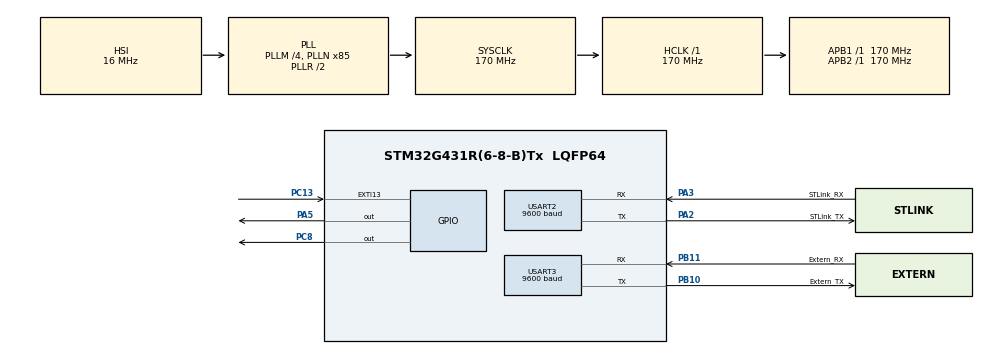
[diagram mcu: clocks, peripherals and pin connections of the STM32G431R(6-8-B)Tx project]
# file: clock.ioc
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Mcu.Family=STM32G4
Mcu.Name=STM32G431R(6-8-B)Tx
Mcu.Package=LQFP64
NUCLEO-G431RB.BUTTON=1
NUCLEO-G431RB.LD1=true
NVIC.EXTI15_10_IRQn=true\:0\:0\:false\:false\:true\:false\:true\:true
NVIC.PriorityGroup=NVIC_PRIORITYGROUP_4
NVIC.TIM2_IRQn=true\:0\:0\:false\:false\:true\:true\:true\:true
NVIC.USART2_IRQn=true\:0\:0\:false\:false\:true\:true\:true\:true
NVIC.USART3_IRQn=true\:0\:0\:false\:false\:true\:true\:true\:true
PA13.GPIO_Label=T_SWDIO
PA13.Signal=SYS_JTMS-SWDIO
PA14.GPIO_Label=T_SWCLK
PA14.Signal=SYS_JTCK-SWCLK
PA2.GPIO_Label=STLink_TX
PA2.Mode=Asynchronous
PA2.Signal=USART2_TX
PA3.GPIO_Label=STLink_RX
PA3.Mode=Asynchronous
PA3.Signal=USART2_RX
PA5.Signal=GPIO_Output
PB10.GPIO_Label=Extern_TX
PB10.Mode=Asynchronous
PB10.Signal=USART3_TX
PB11.GPIO_Label=Extern_RX
PB11.Mode=Asynchronous
PB11.Signal=USART3_RX
PB3.GPIO_Label=T_SWO
PB3.Signal=SYS_JTDO-SWO
PC13.Signal=GPXTI13
PC14-OSC32_IN.GPIO_Label=RCC_OSC32_OUT
PC14-OSC32_IN.Signal=RCC_OSC32_IN
PC15-OSC32_OUT.GPIO_Label=RCC_OSC32_OUT
PC15-OSC32_OUT.Signal=RCC_OSC32_OUT
PC8.Signal=GPIO_Output
PF0-OSC_IN.GPIO_Label=RCC_OSC_IN
PF0-OSC_IN.Signal=RCC_OSC_IN
PF1-OSC_OUT.GPIO_Label=RCC_OSC_OUT
PF1-OSC_OUT.Signal=RCC_OSC_OUT
ProjectManager.HeapSize=0x200
ProjectManager.StackSize=0x400
ProjectManager.TargetToolchain=STM32CubeIDE
RCC.ADC12Freq_Value=170000000
RCC.AHBFreq_Value=170000000
RCC.APB1Freq_Value=170000000
RCC.APB1TimFreq_Value=170000000
RCC.APB2Freq_Value=170000000
RCC.APB2TimFreq_Value=170000000
RCC.CortexFreq_Value=170000000
RCC.EXTERNAL_CLOCK_VALUE=12288000
RCC.HCLKFreq_Value=170000000
RCC.HSE_VALUE=24000000
RCC.HSI48_VALUE=48000000
RCC.HSI_VALUE=16000000
RCC.LSE_VALUE=32768
RCC.PLLM=RCC_PLLM_DIV4
RCC.PLLN=85
RCC.RTCClockSelection=RCC_RTCCLKSOURCE_LSE
RCC.SYSCLKFreq_VALUE=170000000
RCC.SYSCLKSource=RCC_SYSCLKSOURCE_PLLCLK
RCC.USBFreq_Value=170000000
RCC.VCOOutputFreq_Value=340000000
TIM2.PeriodNoDither=62499
TIM2.Prescaler=2719
USART2.BaudRate=9600
USART2.VirtualMode-Asynchronous=VM_ASYNC
USART3.BaudRate=9600
USART3.VirtualMode-Asynchronous=VM_ASYNC
VP_NUCLEO-G431RB_VS_BSP_COMMON.Mode=COMMON
VP_SYS_VS_DBSignals.Mode=DisableDeadBatterySignals
VP_TIM2_VS_ClockSourceINT.Mode=Internal
board=NUCLEO-G431RB

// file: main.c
/* USER CODE BEGIN Header */
/**
 ******************************************************************************
 * @file           : main.c
 * @brief          : Main program body
 ******************************************************************************
 * @attention
 *
 * Copyright (c) 2024 STMicroelectronics.
 * All rights reserved.
 *
 * This software is licensed under terms that can be found in the LICENSE file
 * in the root directory of this software component.
 * If no LICENSE file comes with this software, it is provided AS-IS.
 *
 ******************************************************************************
 */
/* USER CODE END Header */
#include "main.h"

/* USER CODE BEGIN Includes */
#include <stdlib.h>
#include <string.h>
/* USER CODE END Includes */

/* USER CODE BEGIN PD */
#define RX_LEN 8
#define BUFF_LEN 50
#define TRANSMIT_TIMEOUT 10
#define msgSize 9

/* USER CODE END PD */

/* USER CODE BEGIN PM */
void Clear_Putty(void);
void Clear_Cube(void);
void Clear_Terminal(void);
void UpdateTime(void);
void UpdateClock(void);
void PrintClock(void);
void PrintTimer(void);
void Echo(void);
/* USER CODE END PM */

TIM_HandleTypeDef htim2;

UART_HandleTypeDef huart2;
UART_HandleTypeDef huart3;

/* USER CODE BEGIN PV */
unsigned char rxBUFF[BUFF_LEN] = {' '};
int Transmit = 0;
int Time_Update = 0;
int CLKUpdate = 0;
//STLink on UART2, FTDI on UART3
// UART_HandleTypeDef *ftdiUART = &huart2;
// UART_HandleTypeDef *stmUART = &huart3;
UART_HandleTypeDef *ftdiUART = &huart3;
UART_HandleTypeDef *stmUART = &huart2;
UART_HandleTypeDef *txUART = &huart2;
UART_HandleTypeDef *rxUART = &huart2;
uint8_t hours = 0;
uint8_t minutes = 0;
uint8_t seconds = 0;
/* USER CODE END PV */

void SystemClock_Config(void);
static void MX_GPIO_Init(void);
static void MX_USART2_UART_Init(void);
static void MX_USART3_UART_Init(void);
static void MX_TIM2_Init(void);

int main(void)
{

  /* MCU Configuration--------------------------------------------------------*/

  /* Reset of all peripherals, Initializes the Flash interface and the Systick. */
    HAL_Init();

  /* Configure the system clock */
    SystemClock_Config();

  /* USER CODE BEGIN SysInit */
    Clear_Putty();
  /* USER CODE END SysInit */

  /* Initialize all configured peripherals */
    MX_GPIO_Init();
    MX_USART2_UART_Init();
    MX_USART3_UART_Init();
    MX_TIM2_Init();
  /* USER CODE BEGIN 2 */
    HAL_GPIO_WritePin(GPIOC, GPIO_PIN_8, 0);
  /* USER CODE END 2 */

  /* Initialize leds */
    BSP_LED_Init(LED_GREEN);

  /* Initialize USER push-button, will be used to trigger an interrupt each time it's pressed.*/
    BSP_PB_Init(BUTTON_USER, BUTTON_MODE_EXTI);

  /* Infinite loop */
  /* USER CODE BEGIN WHILE */
    // HAL_UART_Transmit(stmUART, (uint8_t *)"STLink\n\r", 8, TRANSMIT_TIMEOUT);
    // HAL_UART_Transmit(ftdiUART, (uint8_t *)"\nFTDI\n\r", 7, TRANSMIT_TIMEOUT);
    // HAL_UART_Receive_IT(ftdiUART, rxBUFF, RX_LEN);
    HAL_UART_Receive_IT(rxUART, rxBUFF, RX_LEN);
    HAL_TIM_Base_Start_IT(&htim2);

    while (1){
        if(CLKUpdate == 1){
            UpdateClock();
            PrintClock();
        }
        if(Time_Update == 1){
            Time_Update = 0;
            UpdateTime();
        }
        if(Transmit == 1){
            Transmit = 0;
        }
    /* USER CODE END WHILE */

    }
}

void SystemClock_Config(void)
{
  RCC_OscInitTypeDef RCC_OscInitStruct = {0};
  RCC_ClkInitTypeDef RCC_ClkInitStruct = {0};

  /** Configure the main internal regulator output voltage
  */
  HAL_PWREx_ControlVoltageScaling(PWR_REGULATOR_VOLTAGE_SCALE1_BOOST);

  /** Initializes the RCC Oscillators according to the specified parameters
  * in the RCC_OscInitTypeDef structure.
  */
  RCC_OscInitStruct.OscillatorType = RCC_OSCILLATORTYPE_HSI;
  RCC_OscInitStruct.HSIState = RCC_HSI_ON;
  RCC_OscInitStruct.HSICalibrationValue = RCC_HSICALIBRATION_DEFAULT;
  RCC_OscInitStruct.PLL.PLLState = RCC_PLL_ON;
  RCC_OscInitStruct.PLL.PLLSource = RCC_PLLSOURCE_HSI;
  RCC_OscInitStruct.PLL.PLLM = RCC_PLLM_DIV4;
  RCC_OscInitStruct.PLL.PLLN = 85;
  RCC_OscInitStruct.PLL.PLLP = RCC_PLLP_DIV2;
  RCC_OscInitStruct.PLL.PLLQ = RCC_PLLQ_DIV2;
  RCC_OscInitStruct.PLL.PLLR = RCC_PLLR_DIV2;
  if (HAL_RCC_OscConfig(&RCC_OscInitStruct) != HAL_OK)
  {
    Error_Handler();
  }

  /** Initializes the CPU, AHB and APB buses clocks
  */
  RCC_ClkInitStruct.ClockType = RCC_CLOCKTYPE_HCLK|RCC_CLOCKTYPE_SYSCLK
                              |RCC_CLOCKTYPE_PCLK1|RCC_CLOCKTYPE_PCLK2;
  RCC_ClkInitStruct.SYSCLKSource = RCC_SYSCLKSOURCE_PLLCLK;
  RCC_ClkInitStruct.AHBCLKDivider = RCC_SYSCLK_DIV1;
  RCC_ClkInitStruct.APB1CLKDivider = RCC_HCLK_DIV1;
  RCC_ClkInitStruct.APB2CLKDivider = RCC_HCLK_DIV1;

  if (HAL_RCC_ClockConfig(&RCC_ClkInitStruct, FLASH_LATENCY_4) != HAL_OK)
  {
    Error_Handler();
  }
}

static void MX_TIM2_Init(void)
{

  TIM_ClockConfigTypeDef sClockSourceConfig = {0};
  TIM_MasterConfigTypeDef sMasterConfig = {0};

  htim2.Instance = TIM2;
  htim2.Init.Prescaler = 2719;
//   htim2.Init.Period = 62499;
//   htim2.Init.Prescaler = 219;
  htim2.Init.Period = 63050;
  htim2.Init.CounterMode = TIM_COUNTERMODE_UP;
  htim2.Init.ClockDivision = TIM_CLOCKDIVISION_DIV1;
  htim2.Init.AutoReloadPreload = TIM_AUTORELOAD_PRELOAD_DISABLE;
  if (HAL_TIM_Base_Init(&htim2) != HAL_OK)
  {
    Error_Handler();
  }
  sClockSourceConfig.ClockSource = TIM_CLOCKSOURCE_INTERNAL;
  if (HAL_TIM_ConfigClockSource(&htim2, &sClockSourceConfig) != HAL_OK)
  {
    Error_Handler();
  }
  sMasterConfig.MasterOutputTrigger = TIM_TRGO_RESET;
  sMasterConfig.MasterSlaveMode = TIM_MASTERSLAVEMODE_DISABLE;
  if (HAL_TIMEx_MasterConfigSynchronization(&htim2, &sMasterConfig) != HAL_OK)
  {
    Error_Handler();
  }

}

static void MX_USART2_UART_Init(void)
{

  huart2.Instance = USART2;
  huart2.Init.BaudRate = 9600;
  huart2.Init.WordLength = UART_WORDLENGTH_8B;
  huart2.Init.StopBits = UART_STOPBITS_1;
  huart2.Init.Parity = UART_PARITY_NONE;
  huart2.Init.Mode = UART_MODE_TX_RX;
  huart2.Init.HwFlowCtl = UART_HWCONTROL_NONE;
  huart2.Init.OverSampling = UART_OVERSAMPLING_16;
  huart2.Init.OneBitSampling = UART_ONE_BIT_SAMPLE_DISABLE;
  huart2.Init.ClockPrescaler = UART_PRESCALER_DIV1;
  huart2.AdvancedInit.AdvFeatureInit = UART_ADVFEATURE_NO_INIT;
  if (HAL_UART_Init(&huart2) != HAL_OK)
  {
    Error_Handler();
  }
  if (HAL_UARTEx_SetTxFifoThreshold(&huart2, UART_TXFIFO_THRESHOLD_1_8) != HAL_OK)
  {
    Error_Handler();
  }
  if (HAL_UARTEx_SetRxFifoThreshold(&huart2, UART_RXFIFO_THRESHOLD_1_8) != HAL_OK)
  {
    Error_Handler();
  }
  if (HAL_UARTEx_DisableFifoMode(&huart2) != HAL_OK)
  {
    Error_Handler();
  }

}

static void MX_USART3_UART_Init(void)
{

  huart3.Instance = USART3;
  huart3.Init.BaudRate = 9600;
  huart3.Init.WordLength = UART_WORDLENGTH_8B;
  huart3.Init.StopBits = UART_STOPBITS_1;
  huart3.Init.Parity = UART_PARITY_NONE;
  huart3.Init.Mode = UART_MODE_TX_RX;
  huart3.Init.HwFlowCtl = UART_HWCONTROL_NONE;
  huart3.Init.OverSampling = UART_OVERSAMPLING_16;
  huart3.Init.OneBitSampling = UART_ONE_BIT_SAMPLE_DISABLE;
  huart3.Init.ClockPrescaler = UART_PRESCALER_DIV1;
  huart3.AdvancedInit.AdvFeatureInit = UART_ADVFEATURE_NO_INIT;
  if (HAL_UART_Init(&huart3) != HAL_OK)
  {
    Error_Handler();
  }
  if (HAL_UARTEx_SetTxFifoThreshold(&huart3, UART_TXFIFO_THRESHOLD_1_8) != HAL_OK)
  {
    Error_Handler();
  }
  if (HAL_UARTEx_SetRxFifoThreshold(&huart3, UART_RXFIFO_THRESHOLD_1_8) != HAL_OK)
  {
    Error_Handler();
  }
  if (HAL_UARTEx_DisableFifoMode(&huart3) != HAL_OK)
  {
    Error_Handler();
  }

}

static void MX_GPIO_Init(void)
{
  GPIO_InitTypeDef GPIO_InitStruct = {0};

  /* GPIO Ports Clock Enable */
  __HAL_RCC_GPIOC_CLK_ENABLE();
  __HAL_RCC_GPIOF_CLK_ENABLE();
  __HAL_RCC_GPIOA_CLK_ENABLE();
  __HAL_RCC_GPIOB_CLK_ENABLE();

  /*Configure GPIO pin Output Level */
  HAL_GPIO_WritePin(GPIOC, GPIO_PIN_8, GPIO_PIN_RESET);

  /*Configure GPIO pin : PC8 */
  GPIO_InitStruct.Pin = GPIO_PIN_8;
  GPIO_InitStruct.Mode = GPIO_MODE_OUTPUT_PP;
  GPIO_InitStruct.Pull = GPIO_NOPULL;
  GPIO_InitStruct.Speed = GPIO_SPEED_FREQ_LOW;
  HAL_GPIO_Init(GPIOC, &GPIO_InitStruct);

}

/* USER CODE BEGIN 4 */
void HAL_UART_RxCpltCallback(UART_HandleTypeDef *huart){
    if(strcmp((char *)rxBUFF, "Set Time") == 0){
        Time_Update = 1;
    }
    else{
        HAL_UART_Receive_IT(rxUART, rxBUFF, RX_LEN);
        Transmit = 1;
    }

}
void Clear_Putty(void)
{
//    HAL_UART_Transmit(txUART, (uint8_t *)"\033c", 5, 10);
    uint8_t msg[4] = {27, '[', '2', 'J'};
   HAL_UART_Transmit(txUART, (uint8_t *)msg, 4, TRANSMIT_TIMEOUT);
}
void Clear_Cube(void)
{
   HAL_UART_Transmit(txUART, (uint8_t *)"\x1B[2J", 7, TRANSMIT_TIMEOUT);
}
void Clear_Terminal(void)
{
   uint8_t message[4] = {0x1B, 0x5B, 0x32, 0x4A};
   HAL_UART_Transmit(txUART, message, 4, TRANSMIT_TIMEOUT);
}
void HAL_TIM_PeriodElapsedCallback(TIM_HandleTypeDef* htim)
{
    CLKUpdate = 1;
    seconds++;
    HAL_GPIO_TogglePin(GPIOC, GPIO_PIN_8);
}
void UpdateTime(){
    uint8_t rxTimeBUFF[2] = {' '};
    HAL_UART_Receive(rxUART, rxTimeBUFF, 3, TRANSMIT_TIMEOUT*70);
    hours = atoi((char *)rxTimeBUFF);
    HAL_UART_Receive(rxUART, rxTimeBUFF, 3, TRANSMIT_TIMEOUT*70);
    minutes = atoi((char *)rxTimeBUFF);
    HAL_UART_Receive(rxUART, rxTimeBUFF, 3, TRANSMIT_TIMEOUT*70);
    seconds = atoi((char *)rxTimeBUFF);

    // HAL_UART_Transmit(txUART, (uint8_t *)"Time Updated\n\r", 16, TRANSMIT_TIMEOUT*2);
    // uint8_t timBUFF[3] = {' '};
    // itoa(hours, (char *)timBUFF, 10);
    // HAL_UART_Transmit(txUART, (uint8_t*)"Hours: ", 7, TRANSMIT_TIMEOUT);
    // HAL_UART_Transmit(txUART, timBUFF, 3, TRANSMIT_TIMEOUT);

    // itoa(minutes, (char *)timBUFF, 10);
    // HAL_UART_Transmit(txUART, (uint8_t*)"\n\rMinutes: ", 11, TRANSMIT_TIMEOUT);
    // HAL_UART_Transmit(txUART, timBUFF, 3, TRANSMIT_TIMEOUT);

    // itoa(seconds, (char *)timBUFF, 10);
    // HAL_UART_Transmit(txUART, (uint8_t*)"\n\rSeconds: ", 11, TRANSMIT_TIMEOUT);
    // HAL_UART_Transmit(txUART, timBUFF, 3, TRANSMIT_TIMEOUT);
    // HAL_UART_Transmit(txUART, (uint8_t*)"\n\r", 2, TRANSMIT_TIMEOUT);
    HAL_UART_Receive_IT(rxUART, rxBUFF, RX_LEN);

}
void UpdateClock(void){
    if(seconds > 59){
        seconds = 0;
        minutes++;
    }
    if(minutes > 59){
        minutes = 0;
        hours++;
    }
    if(hours > 23)
        hours = 0;
}
void PrintClock(void){
    char msg[msgSize] = "    ";
    char *cntrBUFF = msg;
    itoa(hours, cntrBUFF, 10);
    HAL_UART_Transmit(txUART, (uint8_t *)cntrBUFF, msgSize, TRANSMIT_TIMEOUT);
    itoa(minutes, cntrBUFF, 10);
    HAL_UART_Transmit(txUART, (uint8_t *)cntrBUFF, msgSize, TRANSMIT_TIMEOUT);
    itoa(seconds, cntrBUFF, 10);
    HAL_UART_Transmit(txUART, (uint8_t *)cntrBUFF, msgSize, TRANSMIT_TIMEOUT);
    HAL_UART_Transmit(txUART, (uint8_t *)"\r", 1, TRANSMIT_TIMEOUT);
}
void PrintTimer(void){
    const uint8_t *txBUFF = rxBUFF;
    char msg[msgSize] = "         ";
    char *cntrBUFF = msg;
    itoa(TIM2->CNT, cntrBUFF, 10);
    HAL_UART_Transmit(txUART, (uint8_t *)cntrBUFF, 5, TRANSMIT_TIMEOUT);
    HAL_UART_Transmit(txUART, txBUFF, 1, TRANSMIT_TIMEOUT);

}
void Echo(void){

}

/* USER CODE END 4 */

void Error_Handler(void)
{
    __disable_irq();
    while (1)
    {
    }
}
